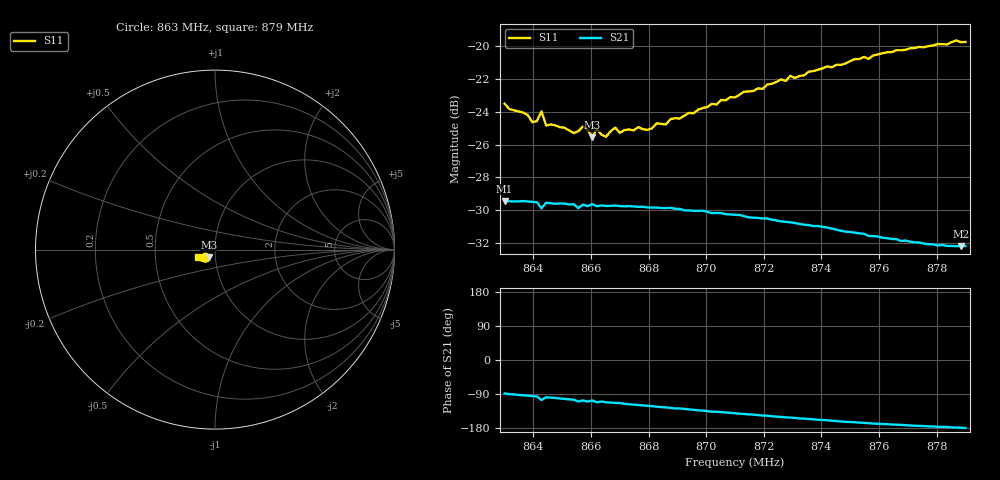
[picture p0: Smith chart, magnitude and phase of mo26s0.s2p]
# HZ S RI R 50
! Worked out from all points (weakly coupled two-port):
!   101 points, 863 MHz to 879 MHz, reference 50 ohm
!   highest |S21| = -29.44 dB at 863 MHz (marker M1); lowest = -32.2 dB at 878.84 MHz (marker M2)
!   lowest |S11| = -25.6 dB at 866.04 MHz (marker M3), VSWR 1.11, Z = 46.6 - j3.78 ohm
!   |S11| at or under -10 dB: start of sweep to end of sweep
!   S12 and S22 are empty: the file has one direction only
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8.63e8  -0.0531 -0.0405  0.000926 -0.0337  0 0  0 0
8.6316e8  -0.0511 -0.039  1.4e-05 -0.0336  0 0  0 0
8.638e8  -0.0479 -0.0388  -0.00232 -0.0335  0 0  0 0
8.6396e8  -0.0458 -0.0366  -0.00315 -0.0334  0 0  0 0
8.6412e8  -0.0451 -0.0382  -0.00357 -0.0333  0 0  0 0
8.6428e8  -0.0493 -0.0395  -0.00858 -0.0309  0 0  0 0
8.6444e8  -0.043 -0.0377  -0.00485 -0.033  0 0  0 0
8.654e8  -0.0383 -0.0385  -0.00838 -0.0319  0 0  0 0
8.6556e8  -0.0382 -0.0397  -0.0108 -0.0302  0 0  0 0
8.6572e8  -0.0406 -0.0399  -0.00936 -0.0315  0 0  0 0
8.6604e8  -0.0338 -0.0404  -0.00952 -0.0316  0 0  0 0
8.662e8  -0.0381 -0.041  -0.0119 -0.0303  0 0  0 0
8.6652e8  -0.0329 -0.0415  -0.012 -0.0303  0 0  0 0
8.6684e8  -0.0364 -0.0431  -0.0128 -0.03  0 0  0 0
8.67e8  -0.0332 -0.0431  -0.0129 -0.0299  0 0  0 0
8.6844e8  -0.0319 -0.0484  -0.0181 -0.0265  0 0  0 0
8.71e8  -0.0371 -0.059  -0.0236 -0.0195  0 0  0 0
8.7292e8  -0.0488 -0.0648  -0.0256 -0.0137  0 0  0 0
8.7372e8  -0.053 -0.0651  -0.0259 -0.0113  0 0  0 0
8.7644e8  -0.075 -0.0596  -0.0255 -0.00436  0 0  0 0
8.7884e8  -0.0931 -0.0436  -0.0246 -0.000621  0 0  0 0
8.79e8  -0.0942 -0.0415  -0.0246 -0.000251  0 0  0 0
